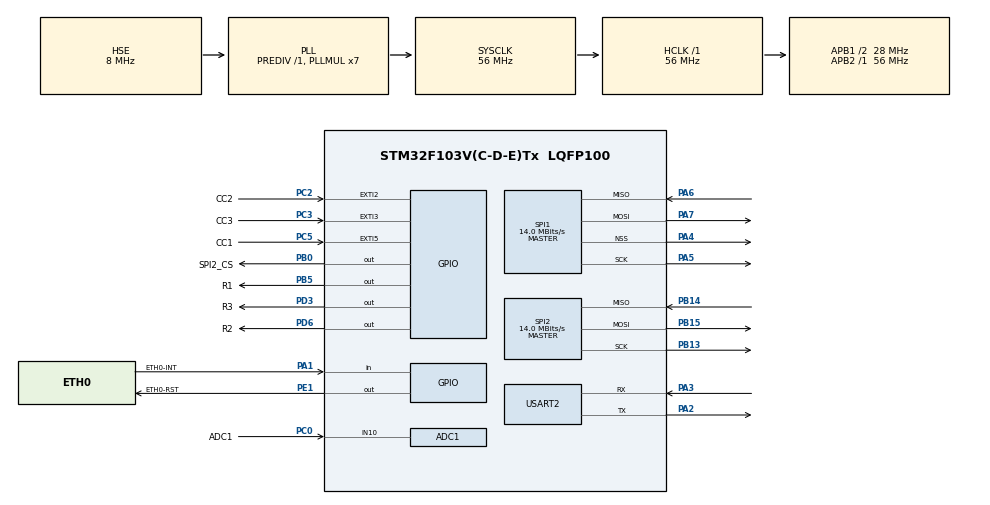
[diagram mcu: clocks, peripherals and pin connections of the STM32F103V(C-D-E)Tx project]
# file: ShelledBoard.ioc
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Mcu.Family=STM32F1
PA6.Mode=Full_Duplex_Master
SPI1.VirtualType=VM_MASTER
SPI2.VirtualType=VM_MASTER
NVIC.EXTI3_IRQn=true\:5\:0\:false\:false\:true\:true\:true\:true
PC0.GPIO_Label=ADC1
PB0.GPIO_Label=SPI2_CS
NVIC.TIM1_UP_IRQn=true\:0\:0\:false\:false\:true\:false\:false\:true
PB13.Signal=SPI2_SCK
PB15.Signal=SPI2_MOSI
PD6.GPIO_Label=R2
RCC.SYSCLKSource=RCC_SYSCLKSOURCE_PLLCLK
ProjectManager.StackSize=0x400
PA4.Mode=NSS_Signal_Hard_Output
SPI1.Direction=SPI_DIRECTION_2LINES
RCC.HCLKFreq_Value=56000000
RCC.APB2TimFreq_Value=56000000
SPI1.CalculateBaudRate=14.0 MBits/s
PC3.Signal=GPXTI3
OSC_OUT.Mode=HSE-External-Oscillator
PE1.Signal=GPIO_Output
OSC_OUT.Signal=RCC_OSC_OUT
RCC.AHBFreq_Value=56000000
ADC1.Channel-0\#ChannelRegularConversion=ADC_CHANNEL_10
PB3.Mode=JTAG_4_pins
PA15.Mode=JTAG_4_pins
RCC.PLLMUL=RCC_PLL_MUL7
PA14.Mode=JTAG_4_pins
PB14.Mode=Full_Duplex_Master
VP_SYS_VS_tim1.Mode=TIM1
SPI2.CalculateBaudRate=14.0 MBits/s
SPI1.VirtualNSS=VM_NSSHARD
VP_FREERTOS_VS_CMSIS_V1.Mode=CMSIS_V1
ADC1.SamplingTime-0\#ChannelRegularConversion=ADC_SAMPLETIME_1CYCLE_5
Mcu.Package=LQFP100
PA6.Signal=SPI1_MISO
NVIC.TimeBase=TIM1_UP_IRQn
SPI2.Mode=SPI_MODE_MASTER
USART2.VirtualMode=VM_ASYNC
NVIC.TimeBaseIP=TIM1
PA15.Signal=SYS_JTDI
PB5.GPIO_Label=R1
NVIC.EXTI2_IRQn=true\:5\:0\:false\:false\:true\:true\:true\:true
RCC.APB1TimFreq_Value=56000000
SPI2.Direction=SPI_DIRECTION_2LINES
PC5.Signal=GPXTI5
PD3.GPIO_Label=R3
PB13.Mode=Full_Duplex_Master
PD6.Signal=GPIO_Output
SPI1.BaudRatePrescaler=SPI_BAUDRATEPRESCALER_4
PC2.GPIO_Label=CC2
PC2.GPIO_ModeDefaultEXTI=GPIO_MODE_IT_RISING_FALLING
PA3.Signal=USART2_RX
PA5.Mode=Full_Duplex_Master
RCC.PLLSourceVirtual=RCC_PLLSOURCE_HSE
FREERTOS.Tasks01=defaultTask,0,128,StartDefaultTask,Default,NULL,Dynamic,NULL,NULL
ADC1.Rank-0\#ChannelRegularConversion=1
PA7.Mode=Full_Duplex_Master
PC3.GPIO_ModeDefaultEXTI=GPIO_MODE_IT_RISING_FALLING
PD3.Signal=GPIO_Output
PC2.Signal=GPXTI2
PC0.Signal=ADCx_IN10
RCC.APB1CLKDivider=RCC_HCLK_DIV2
PC5.GPIO_PuPd=GPIO_PULLUP
RCC.ADCPresc=RCC_ADCPCLK2_DIV4
PA13.Signal=SYS_JTMS-SWDIO
PA3.Mode=Asynchronous
ProjectManager.TargetToolchain=SW4STM32
OSC_IN.Signal=RCC_OSC_IN
RCC.USBFreq_Value=56000000
PA1.Signal=GPIO_Input
PC5.GPIO_ModeDefaultEXTI=GPIO_MODE_IT_RISING_FALLING
PB14.Signal=SPI2_MISO
PA5.Signal=SPI1_SCK
board=custom
PE1.GPIO_Label=ETH0-RST
PB15.Mode=Full_Duplex_Master
NVIC.SPI1_IRQn=true\:5\:0\:false\:false\:true\:true\:true\:true
RCC.APB2Freq_Value=56000000
SPI1.Mode=SPI_MODE_MASTER
PA1.GPIO_Label=ETH0-INT
PC2.GPIO_PuPd=GPIO_PULLUP
PA13.Mode=JTAG_4_pins
Mcu.Name=STM32F103V(C-D-E)Tx
PA2.Signal=USART2_TX
PB3.Signal=SYS_JTDO-TRACESWO
PA4.Signal=SPI1_NSS
RCC.SYSCLKFreq_VALUE=56000000
PB5.Signal=GPIO_Output
ADC1.master=1
OSC_IN.Mode=HSE-External-Oscillator
PC5.GPIO_Label=CC1
NVIC.EXTI9_5_IRQn=true\:5\:0\:false\:false\:true\:true\:true\:true
PA14.Signal=SYS_JTCK-SWCLK
SH.ADCx_IN10.0=ADC1_IN10,IN10
ProjectManager.HeapSize=0x200
NVIC.PriorityGroup=NVIC_PRIORITYGROUP_4
ADC1.NbrOfConversionFlag=1
PA2.Mode=Asynchronous
PC3.GPIO_Label=CC3
RCC.APB1Freq_Value=28000000
PB0.Signal=GPIO_Output
PC3.GPIO_PuPd=GPIO_PULLUP
PA7.Signal=SPI1_MOSI

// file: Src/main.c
/* USER CODE BEGIN Header */
/**
  ******************************************************************************
  * @file           : main.c
  * @brief          : Main program body
  ******************************************************************************
  ** This notice applies to any and all portions of this file
  * that are not between comment pairs USER CODE BEGIN and
  * USER CODE END. Other portions of this file, whether
  * inserted by the user or by software development tools
  * are owned by their respective copyright owners.
  *
  * COPYRIGHT(c) 2019 STMicroelectronics
  *
  * Redistribution and use in source and binary forms, with or without modification,
  * are permitted provided that the following conditions are met:
  *   1. Redistributions of source code must retain the above copyright notice,
  *      this list of conditions and the following disclaimer.
  *   2. Redistributions in binary form must reproduce the above copyright notice,
  *      this list of conditions and the following disclaimer in the documentation
  *      and/or other materials provided with the distribution.
  *   3. Neither the name of STMicroelectronics nor the names of its contributors
  *      may be used to endorse or promote products derived from this software
  *      without specific prior written permission.
  *
  * THIS SOFTWARE IS PROVIDED BY THE COPYRIGHT HOLDERS AND CONTRIBUTORS "AS IS"
  * AND ANY EXPRESS OR IMPLIED WARRANTIES, INCLUDING, BUT NOT LIMITED TO, THE
  * IMPLIED WARRANTIES OF MERCHANTABILITY AND FITNESS FOR A PARTICULAR PURPOSE ARE
  * DISCLAIMED. IN NO EVENT SHALL THE COPYRIGHT HOLDER OR CONTRIBUTORS BE LIABLE
  * FOR ANY DIRECT, INDIRECT, INCIDENTAL, SPECIAL, EXEMPLARY, OR CONSEQUENTIAL
  * DAMAGES (INCLUDING, BUT NOT LIMITED TO, PROCUREMENT OF SUBSTITUTE GOODS OR
  * SERVICES; LOSS OF USE, DATA, OR PROFITS; OR BUSINESS INTERRUPTION) HOWEVER
  * CAUSED AND ON ANY THEORY OF LIABILITY, WHETHER IN CONTRACT, STRICT LIABILITY,
  * OR TORT (INCLUDING NEGLIGENCE OR OTHERWISE) ARISING IN ANY WAY OUT OF THE USE
  * OF THIS SOFTWARE, EVEN IF ADVISED OF THE POSSIBILITY OF SUCH DAMAGE.
  *
  ******************************************************************************
  */
/* USER CODE END Header */
#include "main.h"
#include "cmsis_os.h"

/* USER CODE BEGIN Includes */
#include "net.h"
#include "config.h"
#include "fnode/service.h"
/* USER CODE END Includes */

ADC_HandleTypeDef hadc1;

SPI_HandleTypeDef hspi1;
SPI_HandleTypeDef hspi2;

UART_HandleTypeDef huart2;

osThreadId defaultTaskHandle;
/* USER CODE BEGIN PV */
static fnode_service_t *service = 0;
/* USER CODE END PV */

void SystemClock_Config(void);
static void MX_GPIO_Init(void);
static void MX_SPI1_Init(void);
static void MX_USART2_UART_Init(void);
static void MX_SPI2_Init(void);
static void MX_ADC1_Init(void);
void StartDefaultTask(void const * argument);

/* USER CODE BEGIN PFP */
static void MX_Ethernet_Init(void);
static void MX_LWIP_Init(void);
static void MX_LWIP_Process(void);
void StartDefaultTask(void const * argument);
/* USER CODE END PFP */

/* USER CODE BEGIN 0 */

static void fnode_service_dget(fnode_service_t *svc, uint8_t bank_id);
static void fnode_service_data(fnode_service_t *svc, uint32_t banks_num, fbank_state const banks[]);

void HAL_GPIO_EXTI_Callback(uint16_t GPIO_Pin)
{
    if (service)
        fnode_service_dget(service, 1);
}

/* USER CODE END 0 */

int main(void)
{

  /* MCU Configuration--------------------------------------------------------*/

  /* Reset of all peripherals, Initializes the Flash interface and the Systick. */
  HAL_Init();

  /* Configure the system clock */
  SystemClock_Config();

  /* Initialize all configured peripherals */
  MX_GPIO_Init();
  MX_SPI1_Init();
  MX_USART2_UART_Init();
  MX_SPI2_Init();
  MX_ADC1_Init();
  /* USER CODE BEGIN 2 */
   network_init(&hspi2);
  /* USER CODE END 2 */

  /* Create the thread(s) */
  /* definition and creation of defaultTask */
  osThreadDef(defaultTask, StartDefaultTask, osPriorityNormal, 0, 128);
  defaultTaskHandle = osThreadCreate(osThread(defaultTask), NULL);

  /* Start scheduler */
  osKernelStart();

  /* We should never get here as control is now taken by the scheduler */
  /* Infinite loop */
  while (1)
  {

  }
}

void SystemClock_Config(void)
{
  RCC_OscInitTypeDef RCC_OscInitStruct = {0};
  RCC_ClkInitTypeDef RCC_ClkInitStruct = {0};
  RCC_PeriphCLKInitTypeDef PeriphClkInit = {0};

  /** Initializes the RCC Oscillators according to the specified parameters
  * in the RCC_OscInitTypeDef structure.
  */
  RCC_OscInitStruct.OscillatorType = RCC_OSCILLATORTYPE_HSE;
  RCC_OscInitStruct.HSEState = RCC_HSE_ON;
  RCC_OscInitStruct.HSEPredivValue = RCC_HSE_PREDIV_DIV1;
  RCC_OscInitStruct.HSIState = RCC_HSI_ON;
  RCC_OscInitStruct.PLL.PLLState = RCC_PLL_ON;
  RCC_OscInitStruct.PLL.PLLSource = RCC_PLLSOURCE_HSE;
  RCC_OscInitStruct.PLL.PLLMUL = RCC_PLL_MUL7;
  if (HAL_RCC_OscConfig(&RCC_OscInitStruct) != HAL_OK)
  {
    Error_Handler();
  }
  /** Initializes the CPU, AHB and APB buses clocks
  */
  RCC_ClkInitStruct.ClockType = RCC_CLOCKTYPE_HCLK|RCC_CLOCKTYPE_SYSCLK
                              |RCC_CLOCKTYPE_PCLK1|RCC_CLOCKTYPE_PCLK2;
  RCC_ClkInitStruct.SYSCLKSource = RCC_SYSCLKSOURCE_PLLCLK;
  RCC_ClkInitStruct.AHBCLKDivider = RCC_SYSCLK_DIV1;
  RCC_ClkInitStruct.APB1CLKDivider = RCC_HCLK_DIV2;
  RCC_ClkInitStruct.APB2CLKDivider = RCC_HCLK_DIV1;

  if (HAL_RCC_ClockConfig(&RCC_ClkInitStruct, FLASH_LATENCY_2) != HAL_OK)
  {
    Error_Handler();
  }
  PeriphClkInit.PeriphClockSelection = RCC_PERIPHCLK_ADC;
  PeriphClkInit.AdcClockSelection = RCC_ADCPCLK2_DIV4;
  if (HAL_RCCEx_PeriphCLKConfig(&PeriphClkInit) != HAL_OK)
  {
    Error_Handler();
  }
}

static void MX_ADC1_Init(void)
{

  ADC_ChannelConfTypeDef sConfig = {0};

  /** Common config
  */
  hadc1.Instance = ADC1;
  hadc1.Init.ScanConvMode = ADC_SCAN_DISABLE;
  hadc1.Init.ContinuousConvMode = DISABLE;
  hadc1.Init.DiscontinuousConvMode = DISABLE;
  hadc1.Init.ExternalTrigConv = ADC_SOFTWARE_START;
  hadc1.Init.DataAlign = ADC_DATAALIGN_RIGHT;
  hadc1.Init.NbrOfConversion = 1;
  if (HAL_ADC_Init(&hadc1) != HAL_OK)
  {
    Error_Handler();
  }
  /** Configure Regular Channel
  */
  sConfig.Channel = ADC_CHANNEL_10;
  sConfig.Rank = ADC_REGULAR_RANK_1;
  sConfig.SamplingTime = ADC_SAMPLETIME_1CYCLE_5;
  if (HAL_ADC_ConfigChannel(&hadc1, &sConfig) != HAL_OK)
  {
    Error_Handler();
  }

}

static void MX_SPI1_Init(void)
{

  /* SPI1 parameter configuration*/
  hspi1.Instance = SPI1;
  hspi1.Init.Mode = SPI_MODE_MASTER;
  hspi1.Init.Direction = SPI_DIRECTION_2LINES;
  hspi1.Init.DataSize = SPI_DATASIZE_8BIT;
  hspi1.Init.CLKPolarity = SPI_POLARITY_LOW;
  hspi1.Init.CLKPhase = SPI_PHASE_1EDGE;
  hspi1.Init.NSS = SPI_NSS_HARD_OUTPUT;
  hspi1.Init.BaudRatePrescaler = SPI_BAUDRATEPRESCALER_4;
  hspi1.Init.FirstBit = SPI_FIRSTBIT_MSB;
  hspi1.Init.TIMode = SPI_TIMODE_DISABLE;
  hspi1.Init.CRCCalculation = SPI_CRCCALCULATION_DISABLE;
  hspi1.Init.CRCPolynomial = 10;
  if (HAL_SPI_Init(&hspi1) != HAL_OK)
  {
    Error_Handler();
  }

}

static void MX_SPI2_Init(void)
{

  /* SPI2 parameter configuration*/
  hspi2.Instance = SPI2;
  hspi2.Init.Mode = SPI_MODE_MASTER;
  hspi2.Init.Direction = SPI_DIRECTION_2LINES;
  hspi2.Init.DataSize = SPI_DATASIZE_8BIT;
  hspi2.Init.CLKPolarity = SPI_POLARITY_LOW;
  hspi2.Init.CLKPhase = SPI_PHASE_1EDGE;
  hspi2.Init.NSS = SPI_NSS_SOFT;
  hspi2.Init.BaudRatePrescaler = SPI_BAUDRATEPRESCALER_2;
  hspi2.Init.FirstBit = SPI_FIRSTBIT_MSB;
  hspi2.Init.TIMode = SPI_TIMODE_DISABLE;
  hspi2.Init.CRCCalculation = SPI_CRCCALCULATION_DISABLE;
  hspi2.Init.CRCPolynomial = 10;
  if (HAL_SPI_Init(&hspi2) != HAL_OK)
  {
    Error_Handler();
  }

}

static void MX_USART2_UART_Init(void)
{

  huart2.Instance = USART2;
  huart2.Init.BaudRate = 115200;
  huart2.Init.WordLength = UART_WORDLENGTH_8B;
  huart2.Init.StopBits = UART_STOPBITS_1;
  huart2.Init.Parity = UART_PARITY_NONE;
  huart2.Init.Mode = UART_MODE_TX_RX;
  huart2.Init.HwFlowCtl = UART_HWCONTROL_NONE;
  huart2.Init.OverSampling = UART_OVERSAMPLING_16;
  if (HAL_UART_Init(&huart2) != HAL_OK)
  {
    Error_Handler();
  }

}

static void MX_GPIO_Init(void)
{
  GPIO_InitTypeDef GPIO_InitStruct = {0};

  /* GPIO Ports Clock Enable */
  __HAL_RCC_GPIOC_CLK_ENABLE();
  __HAL_RCC_GPIOA_CLK_ENABLE();
  __HAL_RCC_GPIOB_CLK_ENABLE();
  __HAL_RCC_GPIOD_CLK_ENABLE();
  __HAL_RCC_GPIOE_CLK_ENABLE();

  /*Configure GPIO pin Output Level */
  HAL_GPIO_WritePin(GPIOB, SPI2_CS_Pin|R1_Pin, GPIO_PIN_RESET);

  /*Configure GPIO pin Output Level */
  HAL_GPIO_WritePin(GPIOD, R3_Pin|R2_Pin, GPIO_PIN_RESET);

  /*Configure GPIO pin Output Level */
  HAL_GPIO_WritePin(ETH0_RST_GPIO_Port, ETH0_RST_Pin, GPIO_PIN_RESET);

  /*Configure GPIO pins : CC2_Pin CC3_Pin CC1_Pin */
  GPIO_InitStruct.Pin = CC2_Pin|CC3_Pin|CC1_Pin;
  GPIO_InitStruct.Mode = GPIO_MODE_IT_RISING_FALLING;
  GPIO_InitStruct.Pull = GPIO_PULLUP;
  HAL_GPIO_Init(GPIOC, &GPIO_InitStruct);

  /*Configure GPIO pin : ETH0_INT_Pin */
  GPIO_InitStruct.Pin = ETH0_INT_Pin;
  GPIO_InitStruct.Mode = GPIO_MODE_INPUT;
  GPIO_InitStruct.Pull = GPIO_NOPULL;
  HAL_GPIO_Init(ETH0_INT_GPIO_Port, &GPIO_InitStruct);

  /*Configure GPIO pins : SPI2_CS_Pin R1_Pin */
  GPIO_InitStruct.Pin = SPI2_CS_Pin|R1_Pin;
  GPIO_InitStruct.Mode = GPIO_MODE_OUTPUT_PP;
  GPIO_InitStruct.Pull = GPIO_NOPULL;
  GPIO_InitStruct.Speed = GPIO_SPEED_FREQ_LOW;
  HAL_GPIO_Init(GPIOB, &GPIO_InitStruct);

  /*Configure GPIO pins : R3_Pin R2_Pin */
  GPIO_InitStruct.Pin = R3_Pin|R2_Pin;
  GPIO_InitStruct.Mode = GPIO_MODE_OUTPUT_PP;
  GPIO_InitStruct.Pull = GPIO_NOPULL;
  GPIO_InitStruct.Speed = GPIO_SPEED_FREQ_LOW;
  HAL_GPIO_Init(GPIOD, &GPIO_InitStruct);

  /*Configure GPIO pin : ETH0_RST_Pin */
  GPIO_InitStruct.Pin = ETH0_RST_Pin;
  GPIO_InitStruct.Mode = GPIO_MODE_OUTPUT_PP;
  GPIO_InitStruct.Pull = GPIO_NOPULL;
  GPIO_InitStruct.Speed = GPIO_SPEED_FREQ_LOW;
  HAL_GPIO_Init(ETH0_RST_GPIO_Port, &GPIO_InitStruct);

  /* EXTI interrupt init*/
  HAL_NVIC_SetPriority(EXTI2_IRQn, 5, 0);
  HAL_NVIC_EnableIRQ(EXTI2_IRQn);

  HAL_NVIC_SetPriority(EXTI3_IRQn, 5, 0);
  HAL_NVIC_EnableIRQ(EXTI3_IRQn);

  HAL_NVIC_SetPriority(EXTI9_5_IRQn, 5, 0);
  HAL_NVIC_EnableIRQ(EXTI9_5_IRQn);

}

/* USER CODE BEGIN 4 */
static void fnode_service_dget(fnode_service_t *svc, uint8_t bank_id)
{
    switch(bank_id)
    {
        case FBANK_TADC_ID: // TADC
        {
            uint16_t pin = 0;
            //HAL_ADC_GetValue

            fbank_state bank;
            bank.id = 0;
            bank.pins16 = &pin;
            fnode_service_notify_state(svc, 1, &bank);
            break;
        }

        case FBANK_COCL_ID: // COCL
        {
            uint8_t pins = 0;
            pins |= HAL_GPIO_ReadPin(CC1_GPIO_Port, CC1_Pin) << 0;
            pins |= HAL_GPIO_ReadPin(CC2_GPIO_Port, CC2_Pin) << 1;
            pins |= HAL_GPIO_ReadPin(CC3_GPIO_Port, CC3_Pin) << 2;

            fbank_state bank;
            bank.id = 1;
            bank.pins8 = &pins;
            fnode_service_notify_state(svc, 1, &bank);
            break;
        }

        case FBANK_RELY_ID: // RELY
        {
            uint8_t pins = 0;
            pins |= HAL_GPIO_ReadPin(R1_GPIO_Port, R1_Pin) << 0;
            pins |= HAL_GPIO_ReadPin(R2_GPIO_Port, R2_Pin) << 1;
            pins |= HAL_GPIO_ReadPin(R3_GPIO_Port, R3_Pin) << 2;

            fbank_state bank;
            bank.id = 2;
            bank.pins8 = &pins;
            fnode_service_notify_state(svc, 1, &bank);
            break;
        }
    }
}

static void fnode_service_data(fnode_service_t *svc, uint32_t banks_num, fbank_state const banks[])
{
    for(uint32_t i = 0; i < banks_num; ++i)
    {
        switch (banks[i].id)
        {
            case FBANK_TADC_ID:     // TADC
            case FBANK_COCL_ID:     // COCL
            {
                break;
            }

            case FBANK_RELY_ID:     // RELY
            {
                uint8_t const pins = *banks[i].pins8;
                HAL_GPIO_WritePin(R1_GPIO_Port, R1_Pin, (pins >> 0) & 1);
                HAL_GPIO_WritePin(R2_GPIO_Port, R2_Pin, (pins >> 1) & 1);
                HAL_GPIO_WritePin(R3_GPIO_Port, R3_Pin, (pins >> 2) & 1);
                break;
            }
        }
    }
}

/* USER CODE END 4 */

void StartDefaultTask(void const * argument)
{
  /* USER CODE BEGIN 5 */
    service = fnode_service_create(SN, FBANKS_NUM, BANKS);
    fnode_service_reg_dget_handler(service, fnode_service_dget);
    fnode_service_reg_data_handler(service, fnode_service_data);

    for(;;)
    {
        fnode_service_update(service);
    }
  /* USER CODE END 5 */
}

void HAL_TIM_PeriodElapsedCallback(TIM_HandleTypeDef *htim)
{
  if (htim->Instance == TIM1) {
    HAL_IncTick();
  }
}

void Error_Handler(void)
{
}

/************************ (C) COPYRIGHT STMicroelectronics *****END OF FILE****/

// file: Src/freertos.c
/* USER CODE BEGIN Header */
/**
  ******************************************************************************
  * File Name          : freertos.c
  * Description        : Code for freertos applications
  ******************************************************************************
  * This notice applies to any and all portions of this file
  * that are not between comment pairs USER CODE BEGIN and
  * USER CODE END. Other portions of this file, whether
  * inserted by the user or by software development tools
  * are owned by their respective copyright owners.
  *
  * Copyright (c) 2019 STMicroelectronics International N.V.
  * All rights reserved.
  *
  * Redistribution and use in source and binary forms, with or without
  * modification, are permitted, provided that the following conditions are met:
  *
  * 1. Redistribution of source code must retain the above copyright notice,
  *    this list of conditions and the following disclaimer.
  * 2. Redistributions in binary form must reproduce the above copyright notice,
  *    this list of conditions and the following disclaimer in the documentation
  *    and/or other materials provided with the distribution.
  * 3. Neither the name of STMicroelectronics nor the names of other
  *    contributors to this software may be used to endorse or promote products
  *    derived from this software without specific written permission.
  * 4. This software, including modifications and/or derivative works of this
  *    software, must execute solely and exclusively on microcontroller or
  *    microprocessor devices manufactured by or for STMicroelectronics.
  * 5. Redistribution and use of this software other than as permitted under
  *    this license is void and will automatically terminate your rights under
  *    this license.
  *
  * THIS SOFTWARE IS PROVIDED BY STMICROELECTRONICS AND CONTRIBUTORS "AS IS"
  * AND ANY EXPRESS, IMPLIED OR STATUTORY WARRANTIES, INCLUDING, BUT NOT
  * LIMITED TO, THE IMPLIED WARRANTIES OF MERCHANTABILITY, FITNESS FOR A
  * PARTICULAR PURPOSE AND NON-INFRINGEMENT OF THIRD PARTY INTELLECTUAL PROPERTY
  * RIGHTS ARE DISCLAIMED TO THE FULLEST EXTENT PERMITTED BY LAW. IN NO EVENT
  * SHALL STMICROELECTRONICS OR CONTRIBUTORS BE LIABLE FOR ANY DIRECT, INDIRECT,
  * INCIDENTAL, SPECIAL, EXEMPLARY, OR CONSEQUENTIAL DAMAGES (INCLUDING, BUT NOT
  * LIMITED TO, PROCUREMENT OF SUBSTITUTE GOODS OR SERVICES; LOSS OF USE, DATA,
  * OR PROFITS; OR BUSINESS INTERRUPTION) HOWEVER CAUSED AND ON ANY THEORY OF
  * LIABILITY, WHETHER IN CONTRACT, STRICT LIABILITY, OR TORT (INCLUDING
  * NEGLIGENCE OR OTHERWISE) ARISING IN ANY WAY OUT OF THE USE OF THIS SOFTWARE,
  * EVEN IF ADVISED OF THE POSSIBILITY OF SUCH DAMAGE.
  *
  ******************************************************************************
  */
/* USER CODE END Header */

#include "FreeRTOS.h"
#include "task.h"
#include "main.h"

/* GetIdleTaskMemory prototype (linked to static allocation support) */
void vApplicationGetIdleTaskMemory( StaticTask_t **ppxIdleTaskTCBBuffer, StackType_t **ppxIdleTaskStackBuffer, uint32_t *pulIdleTaskStackSize );

/* USER CODE BEGIN GET_IDLE_TASK_MEMORY */
static StaticTask_t xIdleTaskTCBBuffer;
static StackType_t xIdleStack[configMINIMAL_STACK_SIZE];

void vApplicationGetIdleTaskMemory( StaticTask_t **ppxIdleTaskTCBBuffer, StackType_t **ppxIdleTaskStackBuffer, uint32_t *pulIdleTaskStackSize )
{
  *ppxIdleTaskTCBBuffer = &xIdleTaskTCBBuffer;
  *ppxIdleTaskStackBuffer = &xIdleStack[0];
  *pulIdleTaskStackSize = configMINIMAL_STACK_SIZE;
  /* place for user code */
}
/* USER CODE END GET_IDLE_TASK_MEMORY */

/************************ (C) COPYRIGHT STMicroelectronics *****END OF FILE****/
